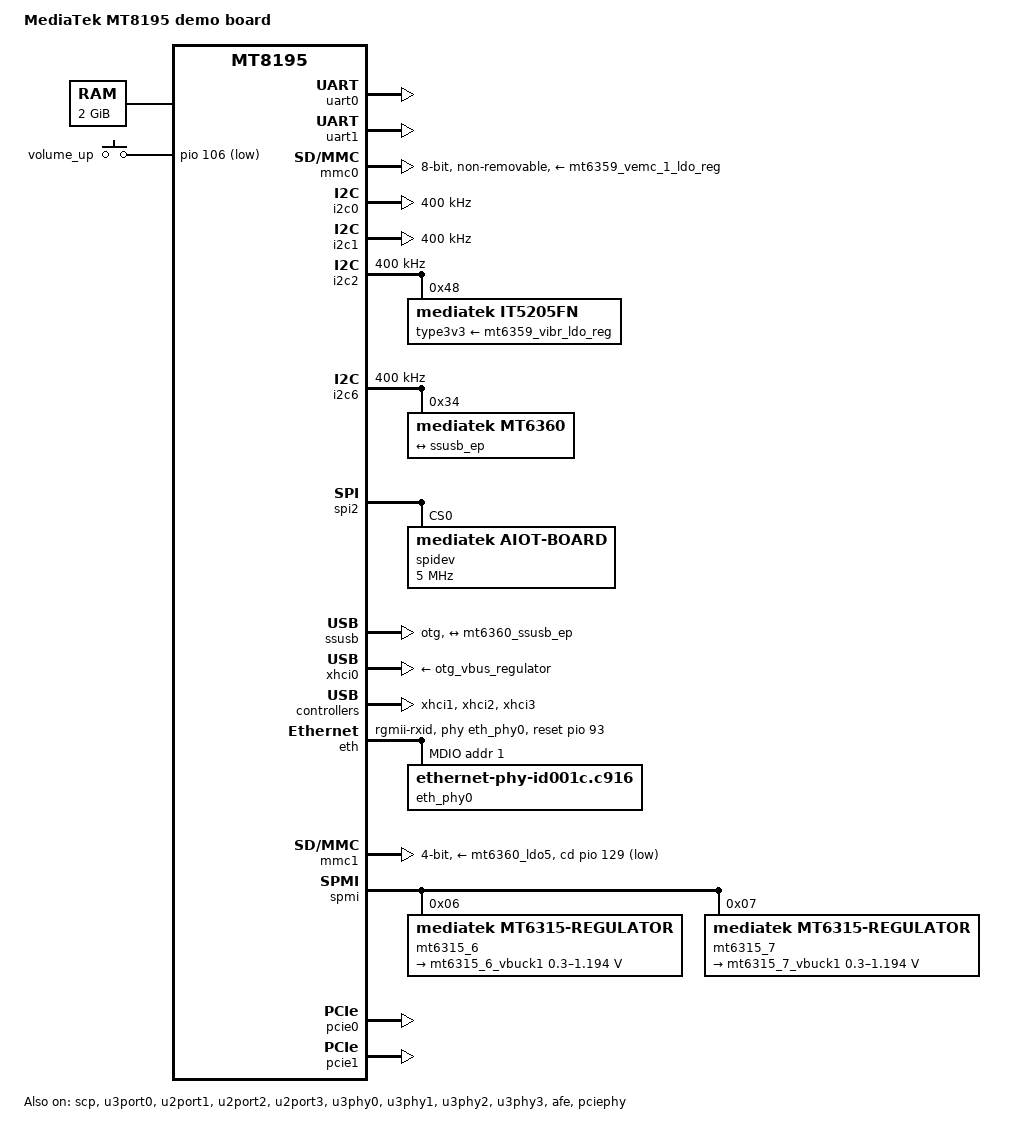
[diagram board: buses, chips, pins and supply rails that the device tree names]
// SPDX-License-Identifier: (GPL-2.0 OR MIT)
/*
 * Copyright (C) 2021 BayLibre, SAS.
 * Author: Fabien Parent <fparent@baylibre.com>
 */
/dts-v1/;
#include "mt8195.dtsi"
#include "mt6359.dtsi"
#include <dt-bindings/gpio/gpio.h>
#include <dt-bindings/input/input.h>
#include <dt-bindings/interrupt-controller/irq.h>
#include <dt-bindings/pinctrl/mt8195-pinfunc.h>
#include <dt-bindings/usb/pd.h>

/ {
	model = "MediaTek MT8195 demo board";
	compatible = "mediatek,mt8195-demo", "mediatek,mt8195";

	aliases {
		serial0 = &uart0;
	};

	chosen {
		stdout-path = "serial0:921600n8";
	};

	memory@40000000 {
		device_type = "memory";
		reg = <0 0x40000000 0 0x80000000>;
	};

	reserved-memory {
		#address-cells = <2>;
		#size-cells = <2>;
		ranges;

		/* 12 MiB reserved for OP-TEE (BL32)
		 * +-----------------------+ 0x43e0_0000
		 * |      SHMEM 2MiB       |
		 * +-----------------------+ 0x43c0_0000
		 * |        | TA_RAM  8MiB |
		 * + TZDRAM +--------------+ 0x4340_0000
		 * |        | TEE_RAM 2MiB |
		 * +-----------------------+ 0x4320_0000
		 */
		optee_reserved: optee@43200000 {
			no-map;
			reg = <0 0x43200000 0 0x00c00000>;
		};

		scp_mem_reserved: scp_mem_region {
			compatible = "shared-dma-pool";
			reg = <0 0x50000000 0 0x2900000>;
			no-map;
		};

		/* 192 KiB reserved for ARM Trusted Firmware (BL31) */
		bl31_secmon_reserved: secmon@54600000 {
			no-map;
			reg = <0 0x54600000 0x0 0x30000>;
		};

		snd_dma_mem_reserved: snd_dma_mem_region {
			compatible = "shared-dma-pool";
			reg = <0 0x60000000 0 0x1100000>;
			no-map;
		};
	};

	firmware {
		optee {
			compatible = "linaro,optee-tz";
			method = "smc";
		};
	};

	gpio-keys {
		compatible = "gpio-keys";
		input-name = "gpio-keys";

		volume-up {
			wakeup-source;
			debounce-interval = <100>;
			gpios = <&pio 106 GPIO_ACTIVE_LOW>;
			label = "volume_up";
			linux,code = <KEY_VOLUMEUP>;
		};
	};
};

&uart0 {
	pinctrl-0 = <&uart0_pins>;
	pinctrl-names = "default";
	status = "okay";
};

&uart1 {
	pinctrl-0 = <&uart1_pins>;
	pinctrl-names = "default";
	status = "okay";
};

&mmc0 {
	status = "okay";
	pinctrl-names = "default", "state_uhs";
	pinctrl-0 = <&mmc0_pins_default>;
	pinctrl-1 = <&mmc0_pins_uhs>;
	bus-width = <8>;
	max-frequency = <200000000>;
	cap-mmc-highspeed;
	mmc-hs200-1_8v;
	mmc-hs400-1_8v;
	cap-mmc-hw-reset;
	no-sdio;
	no-sd;
	hs400-ds-delay = <0x14c11>;
	vmmc-supply = <&mt6359_vemc_1_ldo_reg>;
	vqmmc-supply = <&mt6359_vufs_ldo_reg>;
	non-removable;
};

&pmic {
	interrupt-parent = <&pio>;
	interrupts = <222 IRQ_TYPE_LEVEL_HIGH>;
};

&scp {
	memory-region = <&scp_mem_reserved>;
	status = "okay";
};

&i2c0 {
	clock-frequency = <400000>;
	pinctrl-0 = <&i2c0_pins>;
	pinctrl-names = "default";
	status = "okay";
};

&i2c1 {
	clock-frequency = <400000>;
	pinctrl-0 = <&i2c1_pins>;
	pinctrl-names = "default";
	status = "okay";
};

&i2c2 {
	clock-frequency = <400000>;
	pinctrl-0 = <&i2c2_pins>;
	pinctrl-names = "default";
	status = "okay";

	it5205fn: it5205fn@48 {
		compatible = "mediatek,it5205fn";
		reg = <0x48>;
		type3v3-supply = <&mt6359_vibr_ldo_reg>;
		status = "okay";
	};
};

&i2c6 {
	clock-frequency = <400000>;
	pinctrl-0 = <&i2c6_pins>;
	pinctrl-names = "default";
	#address-cells = <1>;
	#size-cells = <0>;
	status = "okay";

	mt6360: mt6360@34 {
		compatible = "mediatek,mt6360";
		reg = <0x34>;
		pinctrl-0 = <&mt6360_pins>;
		pinctrl-names = "default";

		tcpc {
			compatible = "mediatek,mt6360-tcpc";
			interrupts-extended = <&pio 100 IRQ_TYPE_LEVEL_LOW>;
			interrupt-names = "PD_IRQB";

			connector {
				compatible = "usb-c-connector";
				label = "USB-C";
				data-role = "dual";
				power-role = "dual";
				try-power-role = "sink";
				source-pdos = <PDO_FIXED(5000, 1000, PDO_FIXED_DUAL_ROLE | PDO_FIXED_DATA_SWAP)>;
				sink-pdos = <PDO_FIXED(5000, 2000, PDO_FIXED_DUAL_ROLE | PDO_FIXED_DATA_SWAP)>;
				op-sink-microwatt = <10000000>;
			};

			ports {
				#address-cells = <1>;
				#size-cells = <0>;

				port@0 {
					reg = <0>;
					mt6360_ssusb_ep: endpoint {
						remote-endpoint = <&ssusb_ep>;
					};
				};

			};
		};
	};
};

&spi2 {
	pinctrl-0 = <&spi2_pins>;
	pinctrl-names = "default";
	mediatek,pad-select = <0>;
	#address-cells = <1>;
	#size-cells = <0>;
	status = "okay";

	spidev@0 {
		compatible = "mediatek,aiot-board";
		spi-max-frequency = <5000000>;
		reg = <0>;
	};
};

&ssusb {
	pinctrl-names = "default";
	pinctrl-0 = <&u3_p0_vbus>;
	vusb33-supply = <&mt6359_vusb_ldo_reg>;
	dr_mode = "otg";
	mediatek,usb3-drd;
	usb-role-switch;
	status = "okay";

	port {
		ssusb_ep: endpoint {
			remote-endpoint = <&mt6360_ssusb_ep>;
		};
	};
};

&xhci0 {
	vbus-supply = <&otg_vbus_regulator>;
	status = "okay";
};

&xhci1 {
	vusb33-supply = <&mt6359_vusb_ldo_reg>;
	status = "okay";
};

&xhci2 {
	vusb33-supply = <&mt6359_vusb_ldo_reg>;
	status = "okay";
};

&xhci3 {
	vusb33-supply = <&mt6359_vusb_ldo_reg>;
	status = "okay";
};

&u3port0 {
	status = "okay";
};

&u2port1 {
	status = "okay";
};

&u2port2 {
	status = "okay";
};

&u2port3 {
	status = "okay";
};

&u3phy0 {
	status = "okay";
};

&u3phy1 {
	status = "okay";
};

&u3phy2 {
	status = "okay";
};

&u3phy3 {
	status = "okay";
};

&eth {
	phy-mode ="rgmii-rxid";
	phy-handle = <&eth_phy0>;
	snps,reset-gpio = <&pio 93 GPIO_ACTIVE_HIGH>;
	snps,reset-delays-us = <0 10000 10000>;
	mediatek,tx-delay-ps = <2030>;
	pinctrl-names = "default", "sleep";
	pinctrl-0 = <&eth_default>;
	pinctrl-1 = <&eth_sleep>;
	status = "okay";

	mdio {
		compatible = "snps,dwmac-mdio";
		#address-cells = <1>;
		#size-cells = <0>;
		eth_phy0: eth_phy0@1 {
			compatible = "ethernet-phy-id001c.c916";
			reg = <0x1>;
		};
	};
};

&pio {
	u3_p0_vbus: u3_p0vbusdefault {
		pins_cmd_dat {
			pinmux = <PINMUX_GPIO63__FUNC_VBUSVALID>;
			input-enable;
		};
	};

	mmc0_pins_default: mmc0default {
		pins_cmd_dat {
			pinmux = <PINMUX_GPIO126__FUNC_MSDC0_DAT0>,
				 <PINMUX_GPIO125__FUNC_MSDC0_DAT1>,
				 <PINMUX_GPIO124__FUNC_MSDC0_DAT2>,
				 <PINMUX_GPIO123__FUNC_MSDC0_DAT3>,
				 <PINMUX_GPIO119__FUNC_MSDC0_DAT4>,
				 <PINMUX_GPIO118__FUNC_MSDC0_DAT5>,
				 <PINMUX_GPIO117__FUNC_MSDC0_DAT6>,
				 <PINMUX_GPIO116__FUNC_MSDC0_DAT7>,
				 <PINMUX_GPIO121__FUNC_MSDC0_CMD>;
			input-enable;
			drive-strength = <MTK_DRIVE_6mA>;
			bias-pull-up = <MTK_PUPD_SET_R1R0_01>;
		};

		pins_clk {
			pinmux = <PINMUX_GPIO122__FUNC_MSDC0_CLK>;
			drive-strength = <MTK_DRIVE_6mA>;
			bias-pull-down = <MTK_PUPD_SET_R1R0_10>;
		};

		pins_rst {
			pinmux = <PINMUX_GPIO120__FUNC_MSDC0_RSTB>;
			drive-strength = <MTK_DRIVE_6mA>;
			bias-pull-up = <MTK_PUPD_SET_R1R0_01>;
		};
	};

	mmc0_pins_uhs: mmc0uhs{
		pins_cmd_dat {
			pinmux = <PINMUX_GPIO126__FUNC_MSDC0_DAT0>,
				 <PINMUX_GPIO125__FUNC_MSDC0_DAT1>,
				 <PINMUX_GPIO124__FUNC_MSDC0_DAT2>,
				 <PINMUX_GPIO123__FUNC_MSDC0_DAT3>,
				 <PINMUX_GPIO119__FUNC_MSDC0_DAT4>,
				 <PINMUX_GPIO118__FUNC_MSDC0_DAT5>,
				 <PINMUX_GPIO117__FUNC_MSDC0_DAT6>,
				 <PINMUX_GPIO116__FUNC_MSDC0_DAT7>,
				 <PINMUX_GPIO121__FUNC_MSDC0_CMD>;
			input-enable;
			drive-strength = <MTK_DRIVE_8mA>;
			bias-pull-up = <MTK_PUPD_SET_R1R0_01>;
		};

		pins_clk {
			pinmux = <PINMUX_GPIO122__FUNC_MSDC0_CLK>;
			drive-strength = <MTK_DRIVE_8mA>;
			bias-pull-down = <MTK_PUPD_SET_R1R0_10>;
		};

		pins_ds {
			pinmux = <PINMUX_GPIO127__FUNC_MSDC0_DSL>;
			drive-strength = <MTK_DRIVE_8mA>;
			bias-pull-down = <MTK_PUPD_SET_R1R0_10>;
		};

		pins_rst {
			pinmux = <PINMUX_GPIO120__FUNC_MSDC0_RSTB>;
			drive-strength = <MTK_DRIVE_8mA>;
			bias-pull-up = <MTK_PUPD_SET_R1R0_01>;
		};
	};

	mmc1_pins_default: mmc1-pins-default {
		pins_cmd_dat {
			pinmux = <PINMUX_GPIO110__FUNC_MSDC1_CMD>,
				 <PINMUX_GPIO112__FUNC_MSDC1_DAT0>,
				 <PINMUX_GPIO113__FUNC_MSDC1_DAT1>,
				 <PINMUX_GPIO114__FUNC_MSDC1_DAT2>,
				 <PINMUX_GPIO115__FUNC_MSDC1_DAT3>;
			input-enable;
			drive-strength = <MTK_DRIVE_8mA>;
			bias-pull-up = <MTK_PUPD_SET_R1R0_01>;
		};

		pins_clk {
			pinmux = <PINMUX_GPIO111__FUNC_MSDC1_CLK>;
			drive-strength = <MTK_DRIVE_8mA>;
			bias-pull-down = <MTK_PUPD_SET_R1R0_10>;
		};

		pins_insert {
			pinmux = <PINMUX_GPIO129__FUNC_GPIO129>;
			bias-pull-up;
		};
	};

	mmc1_pins_uhs: mmc1-pins-uhs {
		pins_cmd_dat {
			pinmux = <PINMUX_GPIO110__FUNC_MSDC1_CMD>,
				 <PINMUX_GPIO112__FUNC_MSDC1_DAT0>,
				 <PINMUX_GPIO113__FUNC_MSDC1_DAT1>,
				 <PINMUX_GPIO114__FUNC_MSDC1_DAT2>,
				 <PINMUX_GPIO115__FUNC_MSDC1_DAT3>;
			input-enable;
			drive-strength = <MTK_DRIVE_8mA>;
			bias-pull-up = <MTK_PUPD_SET_R1R0_01>;
		};

		pins_clk {
			pinmux = <PINMUX_GPIO111__FUNC_MSDC1_CLK>;
			drive-strength = <MTK_DRIVE_8mA>;
			bias-pull-down = <MTK_PUPD_SET_R1R0_10>;
		};
	};

	aud_pins_default: audiodefault {
		pins_cmd_dat {
			pinmux = <PINMUX_GPIO70__FUNC_AUD_SYNC_MOSI>,
				 <PINMUX_GPIO69__FUNC_AUD_CLK_MOSI>,
				 <PINMUX_GPIO71__FUNC_AUD_DAT_MOSI0>,
				 <PINMUX_GPIO72__FUNC_AUD_DAT_MOSI1>,
				 <PINMUX_GPIO73__FUNC_AUD_DAT_MISO0>,
				 <PINMUX_GPIO74__FUNC_AUD_DAT_MISO1>,
				 <PINMUX_GPIO75__FUNC_AUD_DAT_MISO2>,
				 <PINMUX_GPIO46__FUNC_I2SIN_MCK>,
				 <PINMUX_GPIO47__FUNC_I2SIN_BCK>,
				 <PINMUX_GPIO48__FUNC_I2SIN_WS>,
				 <PINMUX_GPIO49__FUNC_I2SIN_D0>,
				 <PINMUX_GPIO50__FUNC_I2SO1_MCK>,
				 <PINMUX_GPIO51__FUNC_I2SO1_BCK>,
				 <PINMUX_GPIO52__FUNC_I2SO1_WS>,
				 <PINMUX_GPIO53__FUNC_I2SO1_D0>,
				 <PINMUX_GPIO54__FUNC_I2SO1_D1>,
				 <PINMUX_GPIO55__FUNC_I2SO1_D2>,
				 <PINMUX_GPIO56__FUNC_I2SO1_D3>,
				 <PINMUX_GPIO61__FUNC_DMIC1_CLK>,
				 <PINMUX_GPIO62__FUNC_DMIC1_DAT>,
				 <PINMUX_GPIO64__FUNC_DMIC2_DAT>,
				 <PINMUX_GPIO14__FUNC_DMIC3_DAT>,
				 <PINMUX_GPIO15__FUNC_DMIC3_CLK>,
				 <PINMUX_GPIO16__FUNC_DMIC4_DAT>,
				 <PINMUX_GPIO17__FUNC_DMIC4_CLK>;
		};
	};

	i2c0_pins: i2c0-pins {
		pins {
			pinmux = <PINMUX_GPIO8__FUNC_SDA0>,
				 <PINMUX_GPIO9__FUNC_SCL0>;
			bias-pull-up;
			mediatek,rsel = <MTK_PULL_SET_RSEL_111>;
			mediatek,drive-strength-adv = <7>;
		};
	};

	i2c1_pins: i2c1-pins {
		pins {
			pinmux = <PINMUX_GPIO10__FUNC_SDA1>,
				 <PINMUX_GPIO11__FUNC_SCL1>;
			bias-pull-up;
			mediatek,rsel = <MTK_PULL_SET_RSEL_111>;
			mediatek,drive-strength-adv = <7>;
		};
	};

	i2c2_pins: i2c2-pins {
		pins {
			pinmux = <PINMUX_GPIO12__FUNC_SDA2>,
				 <PINMUX_GPIO13__FUNC_SCL2>;
			bias-pull-up;
			mediatek,rsel = <MTK_PULL_SET_RSEL_111>;
			mediatek,drive-strength-adv = <7>;
		};
	};

	i2c6_pins: i2c6-pin {
		pins {
			pinmux = <PINMUX_GPIO25__FUNC_SDA6>,
				 <PINMUX_GPIO26__FUNC_SCL6>;
			bias-pull-up;
			mediatek,rsel = <MTK_PULL_SET_RSEL_111>;
		};
	};

	uart0_pins: uart0-pins {
		pins {
			pinmux = <PINMUX_GPIO98__FUNC_UTXD0>,
				 <PINMUX_GPIO99__FUNC_URXD0>;
		};
	};

	uart1_pins: uart1-pins {
		pins {
			pinmux = <PINMUX_GPIO102__FUNC_UTXD1>,
				 <PINMUX_GPIO103__FUNC_URXD1>;
		};
	};

	spi2_pins: spi-pins {
		pins {
			pinmux = <PINMUX_GPIO140__FUNC_SPIM2_CSB>,
				 <PINMUX_GPIO141__FUNC_SPIM2_CLK>,
				 <PINMUX_GPIO142__FUNC_SPIM2_MO>,
				 <PINMUX_GPIO143__FUNC_SPIM2_MI>;
			bias-disable;
		};
	};

	eth_default: eth_default {
		txd_pins {
			pinmux = <PINMUX_GPIO77__FUNC_GBE_TXD3>,
				 <PINMUX_GPIO78__FUNC_GBE_TXD2>,
				 <PINMUX_GPIO79__FUNC_GBE_TXD1>,
				 <PINMUX_GPIO80__FUNC_GBE_TXD0>;
			drive-strength = <MTK_DRIVE_8mA>;
		};
		cc_pins {
			pinmux = <PINMUX_GPIO85__FUNC_GBE_TXC>,
				 <PINMUX_GPIO88__FUNC_GBE_TXEN>,
				 <PINMUX_GPIO87__FUNC_GBE_RXDV>,
				 <PINMUX_GPIO86__FUNC_GBE_RXC>;
			drive-strength = <MTK_DRIVE_8mA>;
		};
		rxd_pins {
			pinmux = <PINMUX_GPIO81__FUNC_GBE_RXD3>,
				 <PINMUX_GPIO82__FUNC_GBE_RXD2>,
				 <PINMUX_GPIO83__FUNC_GBE_RXD1>,
				 <PINMUX_GPIO84__FUNC_GBE_RXD0>;
		};
		mdio_pins {
			pinmux = <PINMUX_GPIO89__FUNC_GBE_MDC>,
				 <PINMUX_GPIO90__FUNC_GBE_MDIO>;
			input-enable;
		};
		power_pins {
			pinmux = <PINMUX_GPIO91__FUNC_GPIO91>,
				 <PINMUX_GPIO92__FUNC_GPIO92>;
			output-high;
		};
		phy_reset_pin {
			pinmux = <PINMUX_GPIO93__FUNC_GPIO93>;
		};
	};

	eth_sleep: eth_sleep {
		txd_pins {
			pinmux = <PINMUX_GPIO77__FUNC_GPIO77>,
				 <PINMUX_GPIO78__FUNC_GPIO78>,
				 <PINMUX_GPIO79__FUNC_GPIO79>,
				 <PINMUX_GPIO80__FUNC_GPIO80>;
		};
		cc_pins {
			pinmux = <PINMUX_GPIO85__FUNC_GPIO85>,
				 <PINMUX_GPIO88__FUNC_GPIO88>,
				 <PINMUX_GPIO87__FUNC_GPIO87>,
				 <PINMUX_GPIO86__FUNC_GPIO86>;
		};
		rxd_pins {
			pinmux = <PINMUX_GPIO81__FUNC_GPIO81>,
				 <PINMUX_GPIO82__FUNC_GPIO82>,
				 <PINMUX_GPIO83__FUNC_GPIO83>,
				 <PINMUX_GPIO84__FUNC_GPIO84>;
		};
		mdio_pins {
			pinmux = <PINMUX_GPIO89__FUNC_GPIO89>,
				 <PINMUX_GPIO90__FUNC_GPIO90>;
			input-disable;
			bias-disable;
		};
		power_pins {
			pinmux = <PINMUX_GPIO91__FUNC_GPIO91>,
				 <PINMUX_GPIO92__FUNC_GPIO92>;
			input-disable;
			bias-disable;
		};
		phy_reset_pin {
			pinmux = <PINMUX_GPIO93__FUNC_GPIO93>;
			input-disable;
			bias-disable;
		};
	};

	pcie0_pins_default: pcie0default {
		pins {
			pinmux = <PINMUX_GPIO19__FUNC_WAKEN>,
				 <PINMUX_GPIO20__FUNC_PERSTN>,
				 <PINMUX_GPIO21__FUNC_CLKREQN>;
			bias-pull-up;
		};
	};

	pcie1_pins_default: pcie1default {
		pins {
			pinmux = <PINMUX_GPIO22__FUNC_PERSTN_1>,
				 <PINMUX_GPIO23__FUNC_CLKREQN_1>,
				 <PINMUX_GPIO24__FUNC_WAKEN_1>;
			bias-pull-up;
		};

		mt7921 {
			pinmux = <PINMUX_GPIO65__FUNC_GPIO65>,
				 <PINMUX_GPIO67__FUNC_GPIO67>;
			output-high;
		};
	};

	gpio_keys: gpio-keys {
		pins {
			pinmux = <PINMUX_GPIO106__FUNC_GPIO106>;
			bias-pull-up;
			input-enable;
		};
	};

	mt6360_pins: mt6360-pins {
		pins {
			pinmux = <PINMUX_GPIO100__FUNC_GPIO100>,
				 <PINMUX_GPIO101__FUNC_GPIO101>;
			input-enable;
			bias-pull-up;
		};
	};
};

&mt6359_vgpu11_buck_reg {
	regulator-always-on;
};

&mt6359_vsram_others_ldo_reg {
	regulator-always-on;
};

&mt6359_vpu_buck_reg {
	regulator-always-on;
};

&mt6359_vcore_buck_reg {
	regulator-always-on;
};

&mt6359_vproc1_buck_reg {
	regulator-always-on;
};

&mt6359_vproc2_buck_reg {
	regulator-always-on;
};

&mt6359_vsram_md_ldo_reg {
	regulator-always-on;
};

&mt6359_vbbck_ldo_reg {
	regulator-always-on;
};

&mt6359_vaud18_ldo_reg {
	regulator-always-on;
};

&mt6359_vrf12_ldo_reg {
	regulator-always-on;
};

/* DEBUG: to remove */
&mt6359_vibr_ldo_reg {
	regulator-always-on;
};

#include "mt6360.dtsi"

/* For EMI_VDD2 */
&mt6360_buck1 {
	regulator-always-on;
};

/* For EMI_VDDQ */
&mt6360_buck2 {
	regulator-always-on;
};

/* For EMI_VMDDR_EN */
&mt6360_ldo7 {
	regulator-always-on;
};

&mmc1 {
	pinctrl-names = "default", "state_uhs";
	pinctrl-0 = <&mmc1_pins_default>;
	pinctrl-1 = <&mmc1_pins_uhs>;
	cd-gpios = <&pio 129 GPIO_ACTIVE_LOW>;
	bus-width = <4>;
	max-frequency = <200000000>;
	cap-sd-highspeed;
	sd-uhs-sdr50;
	sd-uhs-sdr104;
	vmmc-supply = <&mt6360_ldo5>;
	vqmmc-supply = <&mt6360_ldo3>;
	status = "okay";
};

&spmi {
	#address-cells = <2>;
	#size-cells = <2>;
	grpid = <11>;

	mt6315_6: mt6315@6 {
		compatible = "mediatek,mt6315-regulator";
		reg = <0x6 0 0xb 1>;

		regulators {
			mt6315_6_vbuck1: vbuck1 {
				regulator-compatible = "vbuck1";
				regulator-name = "Vbcpu";
				regulator-min-microvolt = <300000>;
				regulator-max-microvolt = <1193750>;
				regulator-enable-ramp-delay = <256>;
				regulator-allowed-modes = <0 1 2 4>;
				regulator-always-on;
			};
		};
	};

	mt6315_7: mt6315@7 {
		compatible = "mediatek,mt6315-regulator";
		reg = <0x7 0 0xb 1>;

		regulators {
			mt6315_7_vbuck1: vbuck1 {
				regulator-compatible = "vbuck1";
				regulator-name = "Vgpu";
				regulator-min-microvolt = <300000>;
				regulator-max-microvolt = <1193750>;
				regulator-enable-ramp-delay = <256>;
				regulator-allowed-modes = <0 1 2 4>;
				regulator-always-on;
			};
		};
	};
};

&afe {
	memory-region = <&snd_dma_mem_reserved>;
	mediatek,etdm-out1-multi-pin-mode = <1>;
	mediatek,dmic-iir-on = <0>;
	mediatek,dmic-two-wire-mode = <0>;
	status = "okay";
};

&sound {
	compatible = "mediatek,mt8195_mt6359_demo";
	model = "mt8195_demo";
	pinctrl-names = "default";
	pinctrl-0 = <&aud_pins_default>;
	status = "okay";
};

&mfg0 {
	domain-supply = <&mt6315_7_vbuck1>;
};

&pcie0 {
	pinctrl-names = "default";
	pinctrl-0 = <&pcie0_pins_default>;
	status = "okay";
};

&pcie1 {
	pinctrl-names = "default";
	pinctrl-0 = <&pcie1_pins_default>;
	status = "okay";
};

&u3phy1 {
	status = "okay";
};

&pciephy {
	status = "okay";
};
